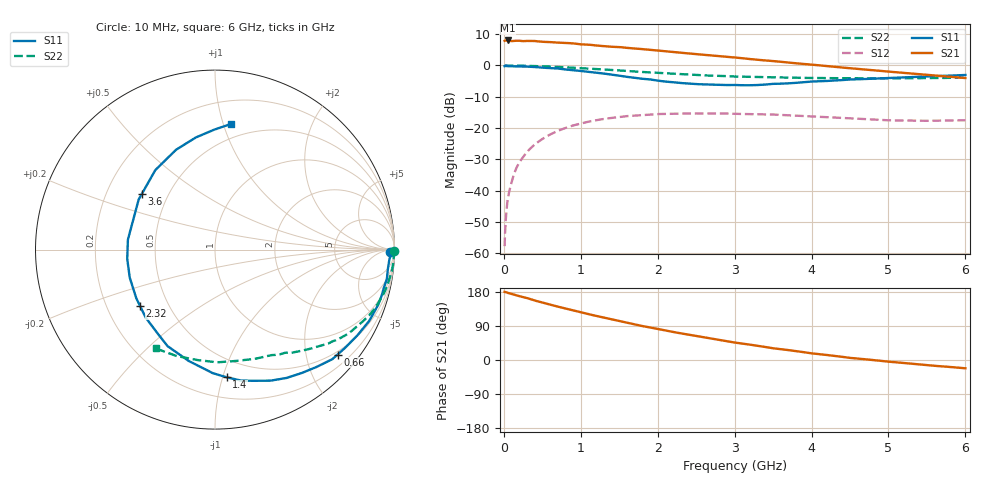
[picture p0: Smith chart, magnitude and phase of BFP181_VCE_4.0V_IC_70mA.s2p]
! Infineon Technologies  Discrete & RF Semiconductors
! BFP181
! VCE = 4.0 V,  IC =  70 mA
! Common Emitter S-Parameters:  Jan 2016
# GHz  S  MA  R  50
!  f  S11  S21  S12  S22
! GHz  MAG  ANG  MAG  ANG  MAG  ANG  MAG  ANG
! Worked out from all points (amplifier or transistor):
!   210 points, 10 MHz to 6 GHz, reference 50 ohm
!   highest |S21| = 8.0 dB at 50 MHz (marker M1)
!   |S21| within 3 dB of that: start of sweep to 1.913 GHz
!   unconditionally stable (mu >= 1): 3.514 GHz to end of sweep
!   at 185 MHz: K = 0.06, MSG = 19.8 dB, |S12| = -31.7 dB
!   at 1.52 GHz: K = 0.48, MSG = 11.1 dB, |S12| = -16.4 dB
!   at 6 GHz: K = 1.36, MAG = 3.2 dB, |S12| = -17.5 dB
!   S11 on the Smith chart (normalised r, x): 10 MHz: 63, -30; 660 MHz: 0.43, -2.64; 1.4 GHz: 0.35, -1.03; 2.32 GHz: 0.34, -0.30; 3.6 GHz: 0.36, +0.30; 6 GHz: 0.38, +1.06
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0.01  0.9746 -0.7  2.476 179.8  0.0013 78.2  0.999 -0.3
0.015  0.9788 -0.9  2.492 179.6  0.002 80.6  0.9985 -0.4
0.025  0.9814 -1.4  2.509 179.1  0.0034 84.6  0.9981 -0.7
0.05  0.974 -2.8  2.511 177.2  0.0072 90.1  0.9981 -1.5
0.135  0.9705 -8.6  2.475 172.4  0.0189 82.9  0.9957 -4.0
0.22  0.964 -13.7  2.469 167.5  0.0306 80.7  0.9927 -6.5
0.4  0.9467 -24.8  2.462 157.1  0.0545 73.1  0.9809 -11.7
0.66  0.8989 -40.6  2.337 143.1  0.0856 62.1  0.9534 -18.9
0.8  0.8644 -49.2  2.303 135.7  0.1003 56.6  0.9369 -22.6
1.02  0.8127 -62.1  2.173 124.8  0.1198 48.5  0.9028 -27.9
1.1  0.7932 -67.0  2.154 120.8  0.1266 45.8  0.892 -29.7
1.4  0.7148 -84.7  1.992 107.4  0.1455 36.1  0.8477 -36.2
1.7  0.6373 -103.3  1.878 94.1  0.1583 28.1  0.8005 -41.7
2.02  0.569 -123.5  1.726 81.0  0.1678 20.3  0.7616 -46.7
2.32  0.5227 -143.0  1.59 69.7  0.1712 13.7  0.7269 -51.6
2.8  0.4917 -174.0  1.405 52.8  0.1719 5.1  0.6846 -58.8
3.1  0.4837 168.1  1.305 43.4  0.168 0.8  0.662 -63.4
3.6  0.5126 142.5  1.144 28.6  0.1624 -5.1  0.6441 -71.3
4.1  0.5591 123.6  1.006 15.5  0.1518 -9.1  0.6298 -80.6
4.5  0.5972 111.3  0.904 5.6  0.1433 -11.3  0.6282 -88.8
5.1  0.6393 97.8  0.78 -6.1  0.1327 -9.6  0.6227 -101.4
6  0.705 82.9  0.63 -21.9  0.1334 -4.4  0.6421 -120.9
